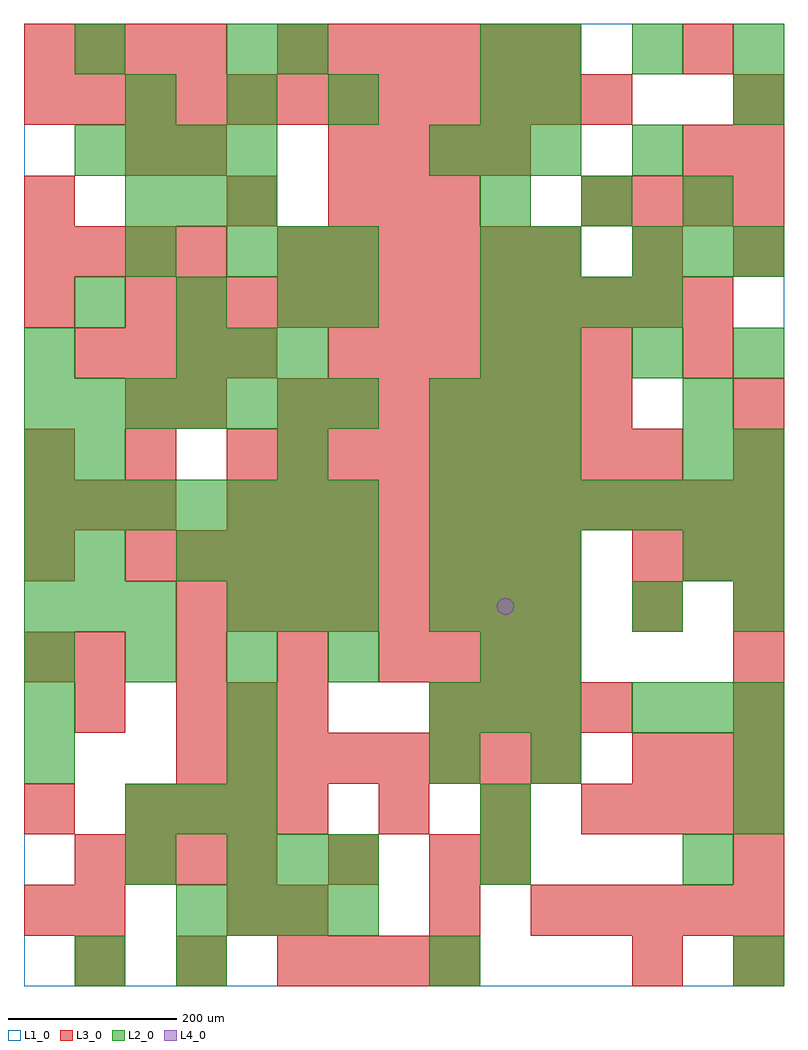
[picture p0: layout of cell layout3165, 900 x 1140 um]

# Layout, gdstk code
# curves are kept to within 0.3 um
import gdstk
lib = gdstk.Library(unit=1e-6, precision=1e-09)
def R(c, l, rs):  # rectangles x0, y0, x1, y1
    for r in rs: c.add(gdstk.rectangle(r[:2], r[2:], *l))
def A(c, l, x, y, w, h, nx, ny, dx, dy):  # array of equal rectangles
    R(c, l, [(x+i*dx, y+j*dy, x+i*dx+w, y+j*dy+h) for i in range(nx) for j in range(ny)])
def P(c, l, *ps):  # polygons
    for p in ps: c.add(gdstk.Polygon(p, *l))
L1_0 = (1, 0)
L2_0 = (2, 0)
L3_0 = (3, 0)
L4_0 = (4, 0)

layout3165 = lib.new_cell('layout3165')
R(layout3165, L1_0, [(0,0,900,1140)])
A(layout3165, L2_0, 180, 60, 60, 60, 4, 2, 60, 420)
A(layout3165, L2_0, 240, 120, 60, 60, 3, 2, 60, 300)
A(layout3165, L2_0, 120, 180, 60, 60, 3, 2, 60, 720)
A(layout3165, L2_0, 0, 240, 60, 60, 3, 2, 240, 60)
A(layout3165, L2_0, 600, 240, 60, 60, 1, 3, 0, 60)
A(layout3165, L2_0, 720, 300, 60, 60, 3, 2, 60, 540)
A(layout3165, L2_0, 0, 360, 60, 60, 4, 1, 120, 0)
A(layout3165, L2_0, 0, 420, 60, 60, 3, 1, 60, 0)
A(layout3165, L2_0, 480, 420, 60, 60, 3, 2, 60, 60)
A(layout3165, L2_0, 0, 480, 60, 60, 1, 3, 0, 120)
A(layout3165, L2_0, 0, 540, 60, 60, 7, 2, 60, 120)
A(layout3165, L2_0, 480, 540, 60, 60, 7, 1, 60, 0)
A(layout3165, L2_0, 480, 600, 60, 60, 3, 2, 60, 60)
A(layout3165, L2_0, 180, 720, 60, 60, 3, 1, 60, 0)
A(layout3165, L2_0, 600, 720, 60, 60, 3, 2, 120, 360)
A(layout3165, L2_0, 60, 780, 60, 60, 3, 1, 120, 0)
A(layout3165, L2_0, 540, 780, 60, 60, 4, 1, 60, 0)
A(layout3165, L2_0, 240, 840, 60, 60, 3, 1, 60, 0)
A(layout3165, L2_0, 540, 900, 60, 60, 3, 1, 120, 0)
A(layout3165, L2_0, 60, 960, 60, 60, 4, 1, 60, 0)
A(layout3165, L2_0, 480, 960, 60, 60, 3, 1, 60, 0)
A(layout3165, L2_0, 120, 1020, 60, 60, 3, 1, 120, 0)
R(layout3165, L2_0, [(60,0,120,60), (180,0,240,60), (480,0,540,60), (840,0,900,60), (120,120,180,180), (540,120,600,180), (780,120,840,180), (540,180,600,240), (840,180,900,240), (840,240,900,300), (540,300,600,360), (540,360,600,420), (720,420,780,480), (840,420,900,480), (60,480,120,540), (780,480,840,540), (840,480,900,540), (60,600,120,660), (300,600,360,660), (780,600,840,660), (840,600,900,660), (780,660,840,720), (540,720,600,780), (360,780,420,840), (120,840,180,900), (540,840,600,900), (600,840,660,900), (720,960,780,1020), (540,1020,600,1080), (600,1020,660,1080), (840,1020,900,1080), (60,1080,120,1140), (240,1080,300,1140), (300,1080,360,1140), (540,1080,600,1140)])
A(layout3165, L3_0, 60, 0, 60, 60, 3, 1, 120, 0)
A(layout3165, L3_0, 360, 0, 60, 60, 3, 2, 60, 900)
A(layout3165, L3_0, 720, 0, 60, 60, 1, 3, 0, 420)
A(layout3165, L3_0, 600, 60, 60, 60, 5, 1, 60, 0)
A(layout3165, L3_0, 60, 120, 60, 60, 4, 2, 60, 600)
A(layout3165, L3_0, 120, 180, 60, 60, 4, 1, 60, 0)
A(layout3165, L3_0, 420, 180, 60, 60, 3, 1, 120, 0)
A(layout3165, L3_0, 720, 180, 60, 60, 3, 2, 60, 60)
A(layout3165, L3_0, 180, 240, 60, 60, 8, 2, 60, 180)
A(layout3165, L3_0, 180, 300, 60, 60, 3, 1, 60, 0)
A(layout3165, L3_0, 480, 300, 60, 60, 4, 1, 60, 0)
A(layout3165, L3_0, 840, 300, 60, 60, 1, 3, 0, 60)
A(layout3165, L3_0, 60, 360, 60, 60, 4, 1, 120, 0)
A(layout3165, L3_0, 480, 360, 60, 60, 3, 1, 60, 0)
A(layout3165, L3_0, 120, 480, 60, 60, 9, 1, 60, 0)
A(layout3165, L3_0, 720, 480, 60, 60, 3, 1, 60, 0)
A(layout3165, L3_0, 0, 540, 60, 60, 3, 1, 60, 0)
A(layout3165, L3_0, 240, 540, 60, 60, 11, 1, 60, 0)
A(layout3165, L3_0, 0, 600, 60, 60, 3, 1, 120, 0)
A(layout3165, L3_0, 300, 600, 60, 60, 8, 1, 60, 0)
A(layout3165, L3_0, 300, 660, 60, 60, 7, 1, 60, 0)
A(layout3165, L3_0, 360, 720, 60, 60, 6, 1, 60, 0)
A(layout3165, L3_0, 120, 780, 60, 60, 12, 1, 60, 0)
A(layout3165, L3_0, 0, 840, 60, 60, 4, 2, 60, 240)
A(layout3165, L3_0, 300, 840, 60, 60, 6, 2, 60, 240)
A(layout3165, L3_0, 660, 900, 60, 60, 4, 1, 60, 0)
A(layout3165, L3_0, 360, 960, 60, 60, 4, 1, 60, 0)
A(layout3165, L3_0, 0, 1020, 60, 60, 12, 1, 60, 0)
R(layout3165, L3_0, [(840,0,900,60), (0,60,60,120), (60,60,120,120), (240,60,300,120), (300,60,360,120), (480,60,540,120), (360,120,420,180), (480,120,540,180), (540,120,600,180), (840,120,900,180), (0,180,60,240), (60,300,120,360), (0,360,60,420), (0,480,60,540), (840,600,900,660), (120,660,180,720), (180,660,240,720), (840,660,900,720), (780,720,840,780), (0,780,60,840), (840,840,900,900), (0,900,60,960), (240,900,300,960), (120,960,180,1020), (180,960,240,1020), (780,960,840,1020), (840,960,900,1020), (840,1020,900,1080), (780,1080,840,1140)])
P(layout3165, L4_0, [(580,450),(579.239,453.827),(577.071,457.071),(573.827,459.239),(570,460),(566.173,459.239),(562.929,457.071),(560.761,453.827),(560,450),(560.761,446.173),(562.929,442.929),(566.173,440.761),(570,440),(573.827,440.761),(577.071,442.929),(579.239,446.173)])

lib.write_gds('layout3165.gds')
